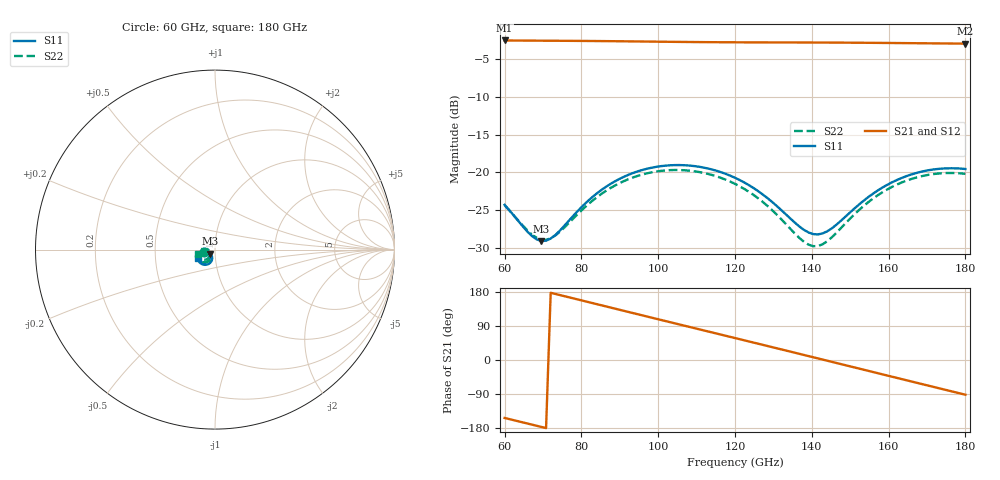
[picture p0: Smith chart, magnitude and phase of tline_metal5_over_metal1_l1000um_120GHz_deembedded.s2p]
! Created with skrf 2.0.1 (http://scikit-rf.org).
# GHz S DB R 50.0
!freq dBS11 angS11 dBS21 angS21 dBS12 angS12 dBS22 angS22
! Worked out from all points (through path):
!   101 points, 60 GHz to 180 GHz, reference 50 ohm
!   highest |S21| = -2.50 dB at 60 GHz (marker M1); lowest = -2.9 dB at 180 GHz (marker M2)
!   group delay of S21, straight-line fit = 6.91 ps
!   lowest |S11| = -29.1 dB at 69.6 GHz (marker M3), VSWR 1.07, Z = 47.4 - j2.24 ohm
!   |S11| at or under -10 dB: start of sweep to end of sweep
!   |S22| runs from -29.8 to -19.7 dB; largest |S21 - S12| = 8.4e-14
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60  -24.30 -165.0  -2.50 -152.9  -2.50 -152.9  -24.37 -167.7
66  -27.88 -155.3  -2.52 -167.8  -2.52 -167.8  -27.72 -159.6
69.6  -29.10 -137.8  -2.53 -176.7  -2.53 -176.7  -28.92 -144.5
73.2  -28.31 -119.2  -2.54 174.4  -2.54 174.4  -28.37 -127.7
80.4  -24.42 -106.6  -2.56 156.4  -2.56 156.4  -24.86 -115.2
85.2  -22.33 -109.5  -2.58 144.4  -2.58 144.4  -22.86 -117.9
91.2  -20.55 -117.7  -2.61 129.4  -2.61 129.4  -21.12 -126.3
100.8  -19.16 -134.6  -2.67 105.5  -2.67 105.5  -19.79 -143.8
105.6  -19.03 -143.4  -2.69 93.6  -2.69 93.6  -19.69 -153.0
110.4  -19.23 -152.1  -2.71 81.7  -2.71 81.7  -19.93 -162.2
120  -20.71 -167.5  -2.75 57.9  -2.75 57.9  -21.52 -178.7
126  -22.48 -174.0  -2.76 43.1  -2.76 43.1  -23.42 174.1
130.8  -24.42 -175.1  -2.76 31.1  -2.76 31.1  -25.56 172.6
136.8  -27.19 -165.6  -2.77 16.2  -2.77 16.2  -28.71 -176.8
140.4  -28.18 -151.7  -2.77 7.2  -2.77 7.2  -29.79 -160.4
144  -27.82 -136.0  -2.78 -1.8  -2.78 -1.8  -29.14 -142.7
150  -25.29 -121.6  -2.80 -16.8  -2.80 -16.8  -26.11 -128.9
154.8  -23.24 -120.4  -2.81 -28.8  -2.81 -28.8  -23.91 -129.1
160.8  -21.34 -125.2  -2.84 -43.8  -2.84 -43.8  -21.95 -135.3
170.4  -19.71 -138.6  -2.88 -67.8  -2.88 -67.8  -20.32 -150.4
175.2  -19.46 -146.2  -2.90 -79.7  -2.90 -79.7  -20.08 -158.7
180  -19.55 -153.8  -2.92 -91.6  -2.92 -91.6  -20.19 -167.0
